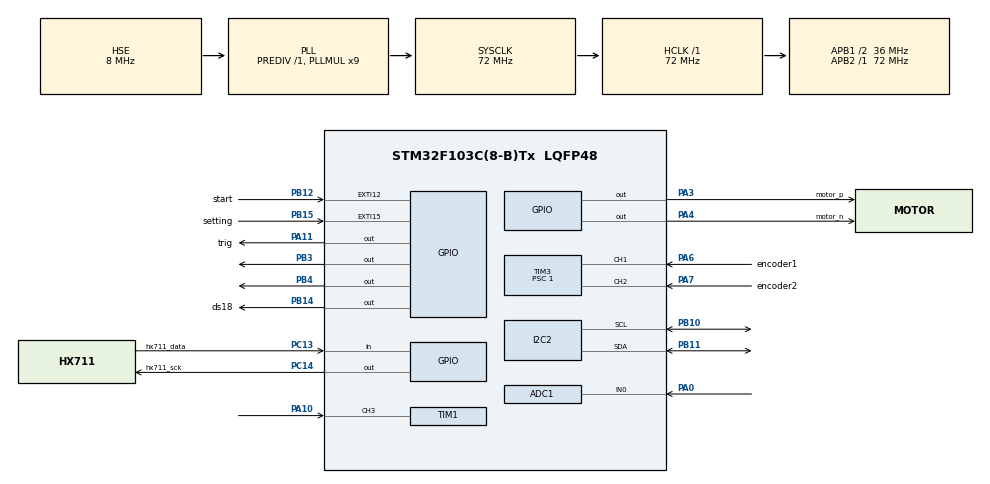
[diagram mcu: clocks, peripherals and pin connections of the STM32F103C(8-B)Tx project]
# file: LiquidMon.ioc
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ADC1.Channel-1\#ChannelRegularConversion=ADC_CHANNEL_0
ADC1.ContinuousConvMode=DISABLE
ADC1.NbrOfConversionFlag=1
ADC1.Rank-1\#ChannelRegularConversion=1
ADC1.SamplingTime-1\#ChannelRegularConversion=ADC_SAMPLETIME_1CYCLE_5
ADC1.master=1
Mcu.Family=STM32F1
Mcu.Name=STM32F103C(8-B)Tx
Mcu.Package=LQFP48
NVIC.EXTI15_10_IRQn=true\:0\:0\:false\:false\:true\:true\:true\:true
NVIC.PriorityGroup=NVIC_PRIORITYGROUP_4
NVIC.TIM1_CC_IRQn=true\:0\:0\:false\:false\:true\:true\:true\:true
PA0-WKUP.Signal=ADCx_IN0
PA10.Signal=S_TIM1_CH3
PA11.GPIO_Label=trig
PA11.Signal=GPIO_Output
PA13.Mode=Serial_Wire
PA13.Signal=SYS_JTMS-SWDIO
PA14.Mode=Serial_Wire
PA14.Signal=SYS_JTCK-SWCLK
PA3.GPIO_Label=motor_p
PA3.GPIO_PuPd=GPIO_NOPULL
PA3.PinState=GPIO_PIN_RESET
PA3.Signal=GPIO_Output
PA4.GPIO_Label=motor_n
PA4.Signal=GPIO_Output
PA6.GPIO_Label=encoder1
PA6.Signal=S_TIM3_CH1
PA7.GPIO_Label=encoder2
PA7.Signal=S_TIM3_CH2
PB10.Mode=I2C
PB10.Signal=I2C2_SCL
PB11.Mode=I2C
PB11.Signal=I2C2_SDA
PB12.GPIO_Label=start
PB12.GPIO_ModeDefaultEXTI=GPIO_MODE_IT_FALLING
PB12.GPIO_PuPd=GPIO_PULLUP
PB12.Signal=GPXTI12
PB14.GPIO_Label=ds18
PB14.GPIO_ModeDefaultOutputPP=GPIO_MODE_OUTPUT_OD
PB14.GPIO_PuPd=GPIO_PULLUP
PB14.PinState=GPIO_PIN_SET
PB14.Signal=GPIO_Output
PB15.GPIO_Label=setting
PB15.GPIO_ModeDefaultEXTI=GPIO_MODE_IT_FALLING
PB15.GPIO_PuPd=GPIO_PULLUP
PB15.Signal=GPXTI15
PB3.GPIO_PuPd=GPIO_PULLDOWN
PB3.Signal=GPIO_Output
PB4.GPIO_PuPd=GPIO_PULLDOWN
PB4.GPIO_Speed=GPIO_SPEED_FREQ_LOW
PB4.Signal=GPIO_Output
PC13-TAMPER-RTC.GPIO_Label=hx711_data
PC13-TAMPER-RTC.GPIO_PuPd=GPIO_PULLUP
PC13-TAMPER-RTC.Signal=GPIO_Input
PC14-OSC32_IN.GPIO_Label=hx711_sck
PC14-OSC32_IN.Signal=GPIO_Output
PD0-OSC_IN.Mode=HSE-External-Oscillator
PD0-OSC_IN.Signal=RCC_OSC_IN
PD1-OSC_OUT.Mode=HSE-External-Oscillator
PD1-OSC_OUT.Signal=RCC_OSC_OUT
ProjectManager.HeapSize=0x200
ProjectManager.StackSize=0x400
ProjectManager.TargetToolchain=STM32CubeIDE
RCC.ADCPresc=RCC_ADCPCLK2_DIV6
RCC.AHBFreq_Value=72000000
RCC.APB1CLKDivider=RCC_HCLK_DIV2
RCC.APB1Freq_Value=36000000
RCC.APB1TimFreq_Value=72000000
RCC.APB2Freq_Value=72000000
RCC.APB2TimFreq_Value=72000000
RCC.HCLKFreq_Value=72000000
RCC.PLLMUL=RCC_PLL_MUL9
RCC.PLLSourceVirtual=RCC_PLLSOURCE_HSE
RCC.SYSCLKFreq_VALUE=72000000
RCC.SYSCLKSource=RCC_SYSCLKSOURCE_PLLCLK
RCC.USBFreq_Value=72000000
SH.ADCx_IN0.0=ADC1_IN0,IN0
SH.S_TIM1_CH3.0=TIM1_CH3,Input_Capture3_from_TI3
SH.S_TIM3_CH1.0=TIM3_CH1,Encoder_Interface
SH.S_TIM3_CH2.0=TIM3_CH2,Encoder_Interface
TIM1.Channel-Input_Capture3_from_TI3=TIM_CHANNEL_3
TIM1.Channel-Input_Capture4_from_TI3_63=TIM_CHANNEL_4
TIM1.ICPolarity_CH4=TIM_INPUTCHANNELPOLARITY_FALLING
TIM1.Prescaler=72-1
TIM3.IC1Filter=15
TIM3.IC1Polarity=TIM_ICPOLARITY_FALLING
TIM3.IC2Filter=15
TIM3.Period=301
TIM3.Prescaler=1
VP_TIM1_VS_indirect_ch3.Mode=Input_Capture4_from_TI3_63
VP_TIM2_VS_ClockSourceINT.Mode=Internal
board=custom

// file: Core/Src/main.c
/* USER CODE BEGIN Header */
/**
 ******************************************************************************
 * @file           : main.c
 * @brief          : Main program body
 ******************************************************************************
 * @attention
 *
 * Copyright (c) 2026 STMicroelectronics.
 * All rights reserved.
 *
 * This software is licensed under terms that can be found in the LICENSE file
 * in the root directory of this software component.
 * If no LICENSE file comes with this software, it is provided AS-IS.
 *
 ******************************************************************************
 */
/* USER CODE END Header */
#include "main.h"
#include "adc.h"
#include "i2c.h"
#include "tim.h"
#include "gpio.h"

/* USER CODE BEGIN Includes */
#include <stdio.h>
#include "aht20.h"
#include "font.h"
#include "oled.h"
//#include "hx711.h"
#include "Ultrasound.h"
#include "ds18b20.h"
#include "motor.h"
/* USER CODE END Includes */

/* USER CODE BEGIN PV */
HX711 data = { .gpioSck = GPIOC, .gpioData = GPIOC, .pinSck = GPIO_PIN_14,
		.pinData = GPIO_PIN_13, .offset = 0, .gain = 1 };
/* USER CODE END PV */

void SystemClock_Config(void);

/* USER CODE BEGIN 0 */
void delay_us(uint32_t us) {
	uint32_t delay = us * 72 / 5;
	while (delay--) {

	}
}                                       //微秒级延时函数

float distance;
/* USER CODE END 0 */

int main(void) {

	/* MCU Configuration--------------------------------------------------------*/

	/* Reset of all peripherals, Initializes the Flash interface and the Systick. */
	HAL_Init();

	/* Configure the system clock */
	SystemClock_Config();

	/* Initialize all configured peripherals */
	MX_GPIO_Init();
	MX_I2C2_Init();
	MX_TIM1_Init();
	MX_TIM2_Init();
	MX_ADC1_Init();
	MX_TIM3_Init();
	/* USER CODE BEGIN 2 */
	HAL_Delay(20);
	OLED_Init();

	HAL_TIM_Base_Start(&htim1);
	HAL_TIM_IC_Start(&htim1, TIM_CHANNEL_3);
	HAL_TIM_IC_Start_IT(&htim1, TIM_CHANNEL_4);
	HAL_TIM_Encoder_Start(&htim3, TIM_CHANNEL_1);
	HAL_TIM_Encoder_Start(&htim3, TIM_CHANNEL_2);
	HAL_ADCEx_Calibration_Start(&hadc1);

	HAL_Delay(20);
	AHT20_Init();
	HX711_Init(data);
	Ds18_Init(GPIOB, GPIO_PIN_14);

	float aim = 0.0;
	float aim_temp = 100.0;
	uint32_t value;
	float temp;
	float weight;
	char message_weight[24] = "";
	char message_kind[24] = "";
	char message_aim_height[24] = "";
	char message_real_height[24] = "";
	char message_temp[24] = "";
	char message_aim_temp[24] = "";

	typedef enum {
		water, milk, saline, vinegar
	} Liqkind;
	Liqkind liqkind;
	const char *liquid_name[] = { "water", "milk", "saline", "vinegar" };

	data = HX711_Tare(data, 10);
	/* USER CODE END 2 */

	/* Infinite loop */
	/* USER CODE BEGIN WHILE */
	while (1) {
		if (a == 0) {
			HAL_ADC_Start(&hadc1);
			HAL_ADC_PollForConversion(&hadc1, 100);
			value = HAL_ADC_GetValue(&hadc1);
			HAL_ADC_Stop(&hadc1);
			if (value < 1500) {
				liqkind = saline;
			} else if (value < 1700) {
				liqkind = vinegar;
			} else if (value < 1970) {
				liqkind = milk;
			} else if (value > 2400) {
				liqkind = water;
			} else {
				liqkind = water;
			}

			aim = __HAL_TIM_GET_COUNTER(&htim3) / 10.0;
			//temp = Ds18_MeasureTemp(GPIOB, GPIO_PIN_14);
			temp = AHT20_Temp();
			weight = HX711_getweight(data, 5, 353, 8300000);

			Measure();
			if (distance < 20.0) {
				while (temp > aim_temp) {
					Measure();                                               //过热保护

					//temp = Ds18_MeasureTemp(GPIOB, GPIO_PIN_14);
					temp = AHT20_Temp();
					Moto_Start(GPIOA, GPIO_PIN_3, GPIOA, GPIO_PIN_4);
					sprintf(message_temp, "temperature: %.1f", temp);
					sprintf(message_real_height, "height: %.1fcm", distance);
					OLED_NewFrame();
					OLED_PrintASCIIString(0, 0, "overheat protect", &afont16x8,
							OLED_COLOR_NORMAL);
					OLED_PrintASCIIString(0, 48, message_temp, &afont12x6,
							OLED_COLOR_NORMAL);
					OLED_PrintASCIIString(0, 36, message_real_height, &afont12x6,
										OLED_COLOR_NORMAL);
					OLED_ShowFrame();
					HAL_GPIO_WritePin(GPIOB, GPIO_PIN_3, GPIO_PIN_SET);
					HAL_GPIO_WritePin(GPIOB, GPIO_PIN_4, GPIO_PIN_SET);
					if (temp <= aim_temp) {
						Moto_Stop(GPIOA, GPIO_PIN_3, GPIOA, GPIO_PIN_4);
						break;
					}
					if (distance >= 20.0) {
						Moto_Stop(GPIOA, GPIO_PIN_3, GPIOA, GPIO_PIN_4);
						break;
					}
				}
			}

			if (flag == 1) {
				if (distance < aim - 0.1) {
					Moto_Start(GPIOA, GPIO_PIN_3, GPIOA, GPIO_PIN_4);
					HAL_GPIO_WritePin(GPIOB, GPIO_PIN_3, GPIO_PIN_RESET);
				} else if (distance >= aim - 0.1 && distance <= aim) {
					Moto_Stop(GPIOA, GPIO_PIN_3, GPIOA, GPIO_PIN_4);
					HAL_GPIO_WritePin(GPIOB, GPIO_PIN_3, GPIO_PIN_SET);
					HAL_GPIO_WritePin(GPIOB, GPIO_PIN_4, GPIO_PIN_SET);
					HAL_Delay(2400);
					HAL_GPIO_WritePin(GPIOB, GPIO_PIN_3, GPIO_PIN_RESET);
					HAL_GPIO_WritePin(GPIOB, GPIO_PIN_4, GPIO_PIN_RESET);
					flag = 0;
				} else {
					Moto_Stop(GPIOA, GPIO_PIN_3, GPIOA, GPIO_PIN_4);
				}
			}

			sprintf(message_kind, "kind: %s", liquid_name[liqkind]);
			sprintf(message_weight, "weight: %.1fg", weight);
			sprintf(message_aim_height, "aim: %.1fcm", aim);
			sprintf(message_real_height, "height: %.1fcm", distance);
			sprintf(message_temp, "temperature: %.1f", temp);
			OLED_NewFrame();
			OLED_PrintASCIIString(0, 0, message_kind, &afont12x6,
					OLED_COLOR_NORMAL);
			OLED_PrintASCIIString(0, 12, message_weight, &afont12x6,
					OLED_COLOR_NORMAL);
			OLED_PrintASCIIString(0, 24, message_aim_height, &afont12x6,
					OLED_COLOR_NORMAL);
			OLED_PrintASCIIString(0, 36, message_real_height, &afont12x6,
					OLED_COLOR_NORMAL);
			OLED_PrintASCIIString(0, 48, message_temp, &afont12x6,
					OLED_COLOR_NORMAL);
			OLED_ShowFrame();
			//HAL_Delay(100);

		} else if (a == 1) {
			aim_temp = __HAL_TIM_GET_COUNTER(&htim3);
			sprintf(message_aim_temp, "aim temp:%.1f", aim_temp);
			OLED_NewFrame();
			OLED_PrintASCIIString(0, 0, message_aim_temp, &afont12x6,
					OLED_COLOR_NORMAL);
			OLED_ShowFrame();

		}

		/* USER CODE END WHILE */

	}
}

void SystemClock_Config(void) {
	RCC_OscInitTypeDef RCC_OscInitStruct = { 0 };
	RCC_ClkInitTypeDef RCC_ClkInitStruct = { 0 };
	RCC_PeriphCLKInitTypeDef PeriphClkInit = { 0 };

	/** Initializes the RCC Oscillators according to the specified parameters
	 * in the RCC_OscInitTypeDef structure.
	 */
	RCC_OscInitStruct.OscillatorType = RCC_OSCILLATORTYPE_HSE;
	RCC_OscInitStruct.HSEState = RCC_HSE_ON;
	RCC_OscInitStruct.HSEPredivValue = RCC_HSE_PREDIV_DIV1;
	RCC_OscInitStruct.HSIState = RCC_HSI_ON;
	RCC_OscInitStruct.PLL.PLLState = RCC_PLL_ON;
	RCC_OscInitStruct.PLL.PLLSource = RCC_PLLSOURCE_HSE;
	RCC_OscInitStruct.PLL.PLLMUL = RCC_PLL_MUL9;
	if (HAL_RCC_OscConfig(&RCC_OscInitStruct) != HAL_OK) {
		Error_Handler();
	}

	/** Initializes the CPU, AHB and APB buses clocks
	 */
	RCC_ClkInitStruct.ClockType = RCC_CLOCKTYPE_HCLK | RCC_CLOCKTYPE_SYSCLK
			| RCC_CLOCKTYPE_PCLK1 | RCC_CLOCKTYPE_PCLK2;
	RCC_ClkInitStruct.SYSCLKSource = RCC_SYSCLKSOURCE_PLLCLK;
	RCC_ClkInitStruct.AHBCLKDivider = RCC_SYSCLK_DIV1;
	RCC_ClkInitStruct.APB1CLKDivider = RCC_HCLK_DIV2;
	RCC_ClkInitStruct.APB2CLKDivider = RCC_HCLK_DIV1;

	if (HAL_RCC_ClockConfig(&RCC_ClkInitStruct, FLASH_LATENCY_2) != HAL_OK) {
		Error_Handler();
	}
	PeriphClkInit.PeriphClockSelection = RCC_PERIPHCLK_ADC;
	PeriphClkInit.AdcClockSelection = RCC_ADCPCLK2_DIV6;
	if (HAL_RCCEx_PeriphCLKConfig(&PeriphClkInit) != HAL_OK) {
		Error_Handler();
	}
}

void Error_Handler(void) {
	__disable_irq();
	while (1) {
	}
}
